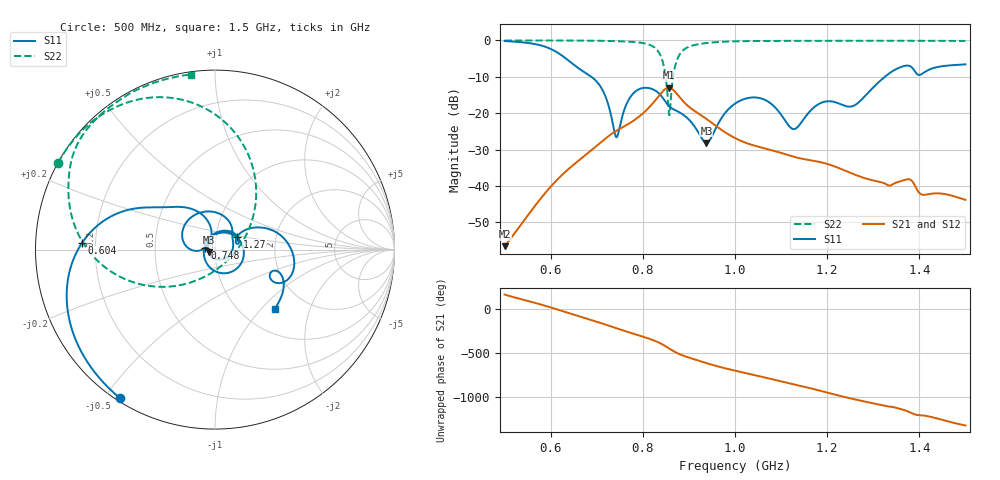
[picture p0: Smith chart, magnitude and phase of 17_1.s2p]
! TOUCHSTONE file generated by CST MICROWAVE STUDIO
! Date and time: Fri Oct  2 18:39:50 2020
! Project name: Scenario_1_Free_Space_out_of_line.cst
! Parameters = {Lambda=346.42; Step_1=17.321; dy1=70.184; dx1=173; L_HA=400; MT=2.54; Rad_Dielectric=30; Rad_Lower=7.3; Rad_Upper=30; a_HA=580; a_WG=246; b_HA=500; b_WG=121; c_HA=0; c_WG=187; d_feed=85; h_feed=15; h_lower=18; h_upper=40}
! Header version: 2018
! Port assignment regex: !\s*Touchstone port\s*([0-9]+)\s*=\s*(CST MWS port|CST DS port)\s*([0-9]+|Zmin|Zmax)\s*\(\"(.*)\"\)(\s*mode\s*([0-9]+))?.*
! Touchstone port assignment:
! Touchstone port 1 = CST MWS port 1 ("")
! Touchstone port 2 = CST MWS port 2 ("")
# GHz S DB R 50
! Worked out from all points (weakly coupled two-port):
!   1003 points, 500 MHz to 1.5 GHz, reference 50 ohm
!   highest |S21| = -12.99 dB at 856 MHz (marker M1); lowest = -56.5 dB at 500 MHz (marker M2)
!   lowest |S11| = -28.1 dB at 938 MHz (marker M3), VSWR 1.08, Z = 46.5 - j1.47 ohm
!   |S11| at or under -10 dB: 688.4 MHz to 1.325 GHz (636.8 MHz wide, 63.2 % of centre)
!   |S22| runs from -20.6 to 0.0 dB; largest |S21 - S12| = 2.9e-05
!   S11 on the Smith chart (normalised r, x): 500 MHz: 0.01, -0.55; 604 MHz: 0.15, +0.02; 748 MHz: 0.89, +0.01; 1.27 GHz: 1.27, +0.19; 1.5 GHz: 1.41, -1.19
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0.5  -0.16 -122.8  -56.55 165.2  -56.55 165.2  -0.01 151.1
0.563  -0.93 -154.9  -45.93 74.9  -45.93 74.9  -0.01 146.8
0.604  -2.58 177.3  -39.63 12.7  -39.63 12.7  -0.02 143.7
0.667  -8.21 142.8  -32.37 -90.8  -32.37 -90.8  -0.05 138.3
0.708  -12.66 114.5  -28.10 -157.4  -28.10 -157.4  -0.10 133.7
0.74  -25.95 126.3  -25.04 146.7  -25.04 146.7  -0.18 129.1
0.748  -24.81 171.9  -24.44 132.7  -24.44 132.7  -0.21 127.8
0.781  -14.33 160.9  -21.95 78.4  -21.95 78.4  -0.43 120.2
0.834  -14.43 73.1  -15.35 -18.8  -15.35 -18.8  -3.15 83.9
0.845  -16.07 53.7  -13.73 -48.6  -13.73 -48.6  -6.77 60.9
0.856  -17.95 40.1  -12.99 -84.2  -12.99 -84.2  -19.26 -10.9
0.867  -18.97 28.2  -13.72 -119.6  -13.72 -119.6  -8.96 -144.4
0.885  -20.20 0.3  -16.35 -163.6  -16.35 -163.6  -3.01 -179.8
0.938  -28.15 -156.2  -21.58 105.7  -21.58 105.7  -0.72 151.8
1  -17.38 33.8  -26.83 20.3  -26.83 20.3  -0.24 140.2
1.063  -16.23 -52.9  -29.62 -55.3  -29.62 -55.3  -0.14 133.0
1.127  -24.37 166.5  -31.97 -135.0  -31.97 -135.0  -0.11 127.3
1.167  -18.91 67.7  -33.01 175.8  -33.01 175.8  -0.11 124.1
1.27  -16.84 30.4  -37.36 41.8  -37.36 41.9  -0.08 116.2
1.334  -9.13 16.6  -39.91 -27.7  -39.90 -27.6  -0.09 111.4
1.385  -7.57 -26.1  -38.76 -106.5  -38.76 -106.5  -0.10 107.4
1.5  -6.58 -44.5  -43.81 117.3  -43.79 117.5  -0.14 97.7
